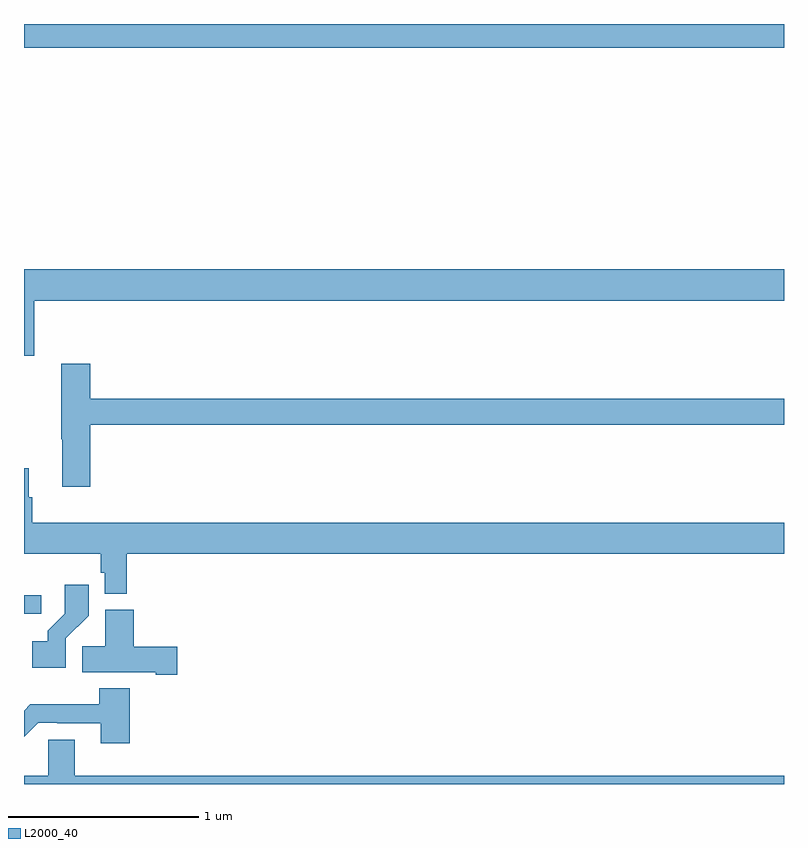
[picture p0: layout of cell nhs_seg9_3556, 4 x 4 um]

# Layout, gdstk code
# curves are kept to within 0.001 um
import gdstk
lib = gdstk.Library(unit=1e-6, precision=1e-09)
def R(c, l, rs):  # rectangles x0, y0, x1, y1
    for r in rs: c.add(gdstk.rectangle(r[:2], r[2:], *l))
def P(c, l, *ps):  # polygons
    for p in ps: c.add(gdstk.Polygon(p, *l))
L2000_40 = (2000, 40)

nhs_seg9_3556 = lib.new_cell('nhs_seg9_3556')
R(nhs_seg9_3556, L2000_40, [(313,1237.395,313.09,1237.494), (313,1240.376,317,1240.5)])
P(nhs_seg9_3556, L2000_40, [(313.055,1239.044),(317,1239.044),(317,1239.208),(313,1239.208),(313,1238.754),(313.055,1238.754)],
  [(313.349,1238.392),(317,1238.392),(317,1238.528),(313.349,1238.528),(313.349,1238.713),(313.195,1238.713),(313.195,1238.315),(313.202,1238.315),(313.202,1238.064),(313.349,1238.064)],
  [(313.541,1237.712),(317,1237.712),(317,1237.876),(313.043,1237.876),(313.043,1238.01),(313.024,1238.01),(313.024,1238.161),(313,1238.161),(313,1237.712),(313.405,1237.712),(313.405,1237.611),(313.425,1237.611),(313.425,1237.502),(313.541,1237.502)],
  [(313.221,1237.267),(313.34,1237.386),(313.34,1237.549),(313.215,1237.549),(313.215,1237.397),(313.124,1237.307),(313.124,1237.252),(313.044,1237.252),(313.044,1237.112),(313.221,1237.112)],
  [(313.807,1237.223),(313.577,1237.223),(313.577,1237.417),(313.427,1237.417),(313.427,1237.226),(313.306,1237.226),(313.306,1237.088),(313.694,1237.088),(313.694,1237.076),(313.807,1237.076)],
  [(313.556,1237.003),(313.396,1237.003),(313.396,1236.919),(313.033,1236.919),(313,1236.886),(313,1236.749),(313.074,1236.822),(313.174,1236.822),(313.174,1236.819),(313.403,1236.819),(313.403,1236.714),(313.556,1236.714)],
  [(317,1236.544),(313.267,1236.544),(313.267,1236.734),(313.128,1236.734),(313.128,1236.544),(313,1236.544),(313,1236.5),(317,1236.5)])

lib.write_gds('nhs_seg9_3556.gds')
